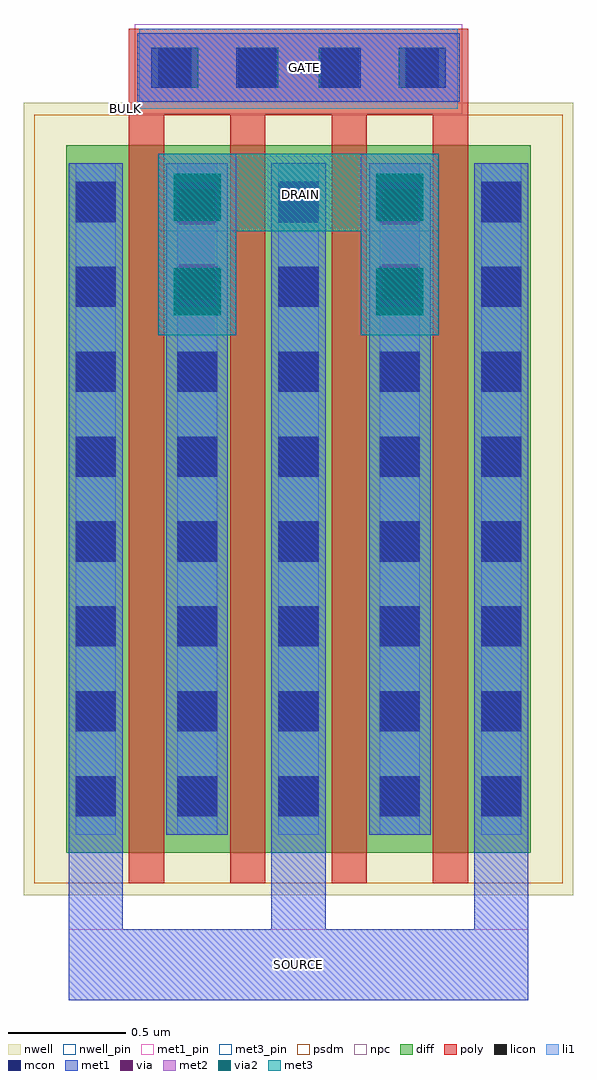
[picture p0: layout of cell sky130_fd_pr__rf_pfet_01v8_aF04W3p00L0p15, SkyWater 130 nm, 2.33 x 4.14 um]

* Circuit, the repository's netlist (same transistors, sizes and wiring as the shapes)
* Copyright 2020 The SkyWater PDK Authors
*
* Licensed under the Apache License, Version 2.0 (the "License");
* you may not use this file except in compliance with the License.
* You may obtain a copy of the License at
*
*     https://www.apache.org/licenses/LICENSE-2.0
*
* Unless required by applicable law or agreed to in writing, software
* distributed under the License is distributed on an "AS IS" BASIS,
* WITHOUT WARRANTIES OR CONDITIONS OF ANY KIND, either express or implied.
* See the License for the specific language governing permissions and
* limitations under the License.
*
* SPDX-License-Identifier: Apache-2.0


.subckt sky130_fd_pr__rf_pfet_01v8_aF04W3p00L0p15 BULK DRAIN GATE SOURCE
X0 SOURCE GATE DRAIN BULK sky130_fd_pr__pfet_01v8 w=3e+06u l=150000u
X1 DRAIN GATE SOURCE BULK sky130_fd_pr__pfet_01v8 w=3e+06u l=150000u
X2 SOURCE GATE DRAIN BULK sky130_fd_pr__pfet_01v8 w=3e+06u l=150000u
X3 DRAIN GATE SOURCE BULK sky130_fd_pr__pfet_01v8 w=3e+06u l=150000u
.ends

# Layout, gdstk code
import gdstk
lib = gdstk.Library(unit=1e-6, precision=1e-09)
def R(c, l, rs):  # rectangles x0, y0, x1, y1
    for r in rs: c.add(gdstk.rectangle(r[:2], r[2:], *l))
def A(c, l, x, y, w, h, nx, ny, dx, dy):  # array of equal rectangles
    R(c, l, [(x+i*dx, y+j*dy, x+i*dx+w, y+j*dy+h) for i in range(nx) for j in range(ny)])
nwell_pin = (64, 16)
nwell = (64, 20)
diff = (65, 20)
poly = (66, 20)
licon = (66, 44)
li1 = (67, 20)
mcon = (67, 44)
met1_pin = (68, 16)
met1 = (68, 20)
via = (68, 44)
met2 = (69, 20)
via2 = (69, 44)
met3_pin = (70, 16)
met3 = (70, 20)
psdm = (94, 20)
npc = (95, 20)

sky130_fd_pr__rf_pfet_01 = lib.new_cell('sky130_fd_pr__rf_pfet_01v8_aF04W3p00L0p15')
R(sky130_fd_pr__rf_pfet_01, nwell_pin, [(0.42,3.315,0.44,3.355)])
R(sky130_fd_pr__rf_pfet_01, nwell, [(0,0,2.33,3.36)])
A(sky130_fd_pr__rf_pfet_01, diff, 0.445, 0.18, 0.15, 3, 4, 1, 0.43, 0)
R(sky130_fd_pr__rf_pfet_01, diff, [(0.18,0.18,0.445,3.18), (0.21,0.18,0.445,3.18), (0.595,0.18,0.875,3.18), (1.025,0.18,1.305,3.18), (1.025,0.18,1.305,3.18), (1.055,0.18,1.305,3.18), (1.455,0.18,1.735,3.18), (1.885,0.18,2.15,3.18), (1.885,0.18,2.15,3.18), (1.915,0.18,2.15,3.18)])
A(sky130_fd_pr__rf_pfet_01, poly, 0.445, 0.05, 0.15, 0.13, 4, 2, 0.43, 3.13)
A(sky130_fd_pr__rf_pfet_01, poly, 0.445, 0.05, 0.15, 3.26, 4, 1, 0.43, 0)
R(sky130_fd_pr__rf_pfet_01, poly, [(0.445,3.31,1.885,3.675), (0.49,3.335,1.84,3.675)])
A(sky130_fd_pr__rf_pfet_01, licon, 0.22, 0.335, 0.17, 0.17, 5, 8, 0.43, 0.36)
A(sky130_fd_pr__rf_pfet_01, licon, 0.57, 3.425, 0.17, 0.17, 4, 1, 0.34, 0)
A(sky130_fd_pr__rf_pfet_01, li1, 0.22, 0.255, 0.17, 2.85, 5, 1, 0.43, 0)
R(sky130_fd_pr__rf_pfet_01, li1, [(0.49,3.335,1.84,3.675), (0.54,3.425,1.79,3.595)])
A(sky130_fd_pr__rf_pfet_01, mcon, 0.22, 0.335, 0.17, 0.17, 5, 8, 0.43, 0.36)
A(sky130_fd_pr__rf_pfet_01, mcon, 0.54, 3.425, 0.17, 0.17, 4, 1, 0.36, 0)
R(sky130_fd_pr__rf_pfet_01, met1_pin, [(0.19,-0.445,2.14,-0.145), (0.48,3.365,1.85,3.655)])
R(sky130_fd_pr__rf_pfet_01, met1, [(0.48,3.365,1.85,3.655)])
R(sky130_fd_pr__rf_pfet_01, via, [(0.66,2.525,0.81,2.675), (1.52,2.525,1.67,2.675), (0.66,2.845,0.81,2.995), (1.52,2.845,1.67,2.995)])
R(sky130_fd_pr__rf_pfet_01, met2, [(0.57,2.375,0.9,3.145), (1.43,2.375,1.76,3.145), (0.605,2.44,0.865,3.08), (1.465,2.44,1.725,3.08)])
R(sky130_fd_pr__rf_pfet_01, via2, [(0.635,2.46,0.835,2.66), (1.495,2.46,1.695,2.66), (0.635,2.86,0.835,3.06), (1.495,2.86,1.695,3.06)])
R(sky130_fd_pr__rf_pfet_01, met3_pin, [(0.57,2.815,1.76,3.145)])
R(sky130_fd_pr__rf_pfet_01, met3, [(0.57,2.375,0.9,3.145), (1.43,2.375,1.76,3.145)])
A(sky130_fd_pr__rf_pfet_01, psdm, 0.465, 0.05, 0.54, 3.26, 3, 1, 0.43, 0)
A(sky130_fd_pr__rf_pfet_01, psdm, 0.625, 0.05, 0.4, 3.26, 3, 1, 0.43, 0)
R(sky130_fd_pr__rf_pfet_01, psdm, [(0.045,0.05,0.575,3.31), (0.21,0.05,0.595,3.31), (1.755,0.05,2.285,3.31)])
R(sky130_fd_pr__rf_pfet_01, npc, [(0.47,3.315,1.86,3.695)])
sky130_fd_pr__rf_pfet_01.add(gdstk.FlexPath([(0.57,2.98),(1.76,2.98)], 0.33, ends="flush", simple_path=True, layer=70, datatype=20))  # met3
sky130_fd_pr__rf_pfet_01.add(gdstk.FlexPath([(2.025,3.105),(2.025,-0.445)], 0.23, ends="flush", simple_path=True, layer=68, datatype=20))  # met1
sky130_fd_pr__rf_pfet_01.add(gdstk.FlexPath([(1.165,3.105),(1.165,-0.445)], 0.23, ends="flush", simple_path=True, layer=68, datatype=20))  # met1
sky130_fd_pr__rf_pfet_01.add(gdstk.FlexPath([(0.305,3.105),(0.305,-0.445)], 0.23, ends="flush", simple_path=True, layer=68, datatype=20))  # met1
sky130_fd_pr__rf_pfet_01.add(gdstk.FlexPath([(0.735,3.105),(0.735,0.255)], 0.26, ends="flush", simple_path=True, layer=68, datatype=20))  # met1
sky130_fd_pr__rf_pfet_01.add(gdstk.FlexPath([(1.595,3.105),(1.595,0.255)], 0.26, ends="flush", simple_path=True, layer=68, datatype=20))  # met1
sky130_fd_pr__rf_pfet_01.add(gdstk.FlexPath([(0.19,-0.295),(2.14,-0.295)], 0.3, ends="flush", simple_path=True, layer=68, datatype=20))  # met1
sky130_fd_pr__rf_pfet_01.add(gdstk.Label('DRAIN', (1.175,2.97), layer=70, texttype=16))
sky130_fd_pr__rf_pfet_01.add(gdstk.Label('GATE', (1.19,3.51), layer=68, texttype=16))
sky130_fd_pr__rf_pfet_01.add(gdstk.Label('SOURCE', (1.165,-0.295), layer=68, texttype=16))
sky130_fd_pr__rf_pfet_01.add(gdstk.Label('BULK', (0.43,3.335), layer=64, texttype=5))

lib.write_gds('sky130_fd_pr__rf_pfet_01v8_aF04W3p00L0p15.gds')
